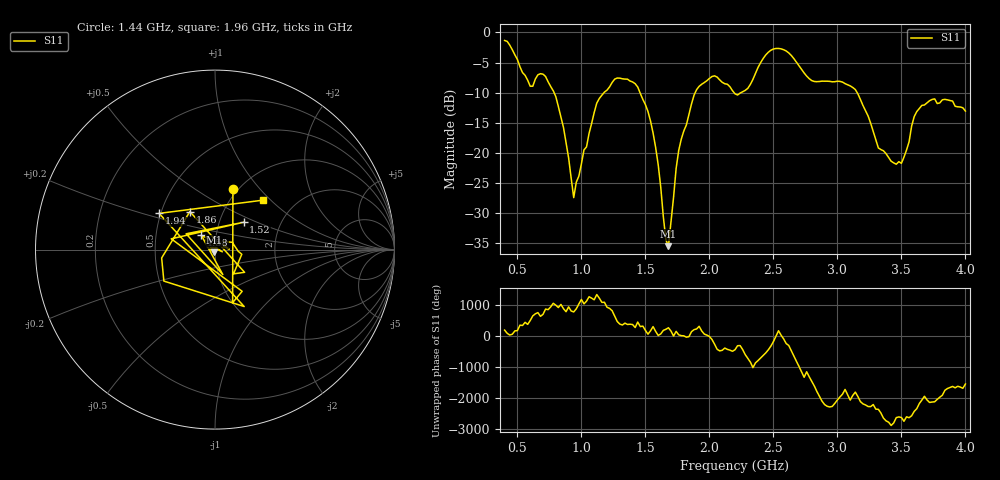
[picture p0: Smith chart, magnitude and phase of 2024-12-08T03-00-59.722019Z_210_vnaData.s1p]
!Created with skrf (http://scikit-rf.org).
# Hz S RI R 50.0
!freq ReS11 ImS11
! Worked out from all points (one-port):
!   181 points, 400 MHz to 4 GHz, reference 50 ohm
!   lowest |S11| = -35.5 dB at 1.68 GHz (marker M1), VSWR 1.03, Z = 49.4 - j1.56 ohm
!   |S11| at or under -10 dB: 786.2 MHz to 1.177 GHz (390.8 MHz wide, 39.8 % of centre); 1.457 GHz to 1.889 GHz (431.9 MHz wide, 25.8 % of centre); 3.154 GHz to end of sweep (the widest 3 of 4)
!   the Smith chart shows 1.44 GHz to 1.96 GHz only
!   S11 on the Smith chart (normalised r, x): 1.44 GHz: 0.95, +0.73; 1.52 GHz: 1.30, +0.42; 1.58 GHz: 0.85, +0.14; 1.86 GHz: 0.70, +0.31; 1.94 GHz: 0.49, +0.23; 1.96 GHz: 1.39, +0.90
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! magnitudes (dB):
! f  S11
! 400 MHz  -1.3
! 600 MHz  -8.9
! 720 MHz  -7.3
! 860 MHz  -15.8
! 940 MHz  -27.5
! 1.12 GHz  -11.8
! 1.3 GHz  -7.6
! 1.44 GHz  -9.1
! 1.52 GHz  -13.1
! 1.58 GHz  -19.1
! 1.66 GHz  -34.5
! 1.68 GHz  -35.5
! 1.76 GHz  -19.6
! 1.86 GHz  -11.9
! 1.94 GHz  -8.6
! 1.96 GHz  -8.3
! 2.04 GHz  -7.2
! 2.2 GHz  -10.2
! 2.48 GHz  -3.0
! 2.66 GHz  -4.4
! 2.8 GHz  -8.0
! 3.1 GHz  -8.9
! 3.42 GHz  -21.4
! 3.5 GHz  -21.8
! 3.56 GHz  -18.2
! 3.6 GHz  -14.0
! 3.72 GHz  -11.4
! 4 GHz  -13.1
